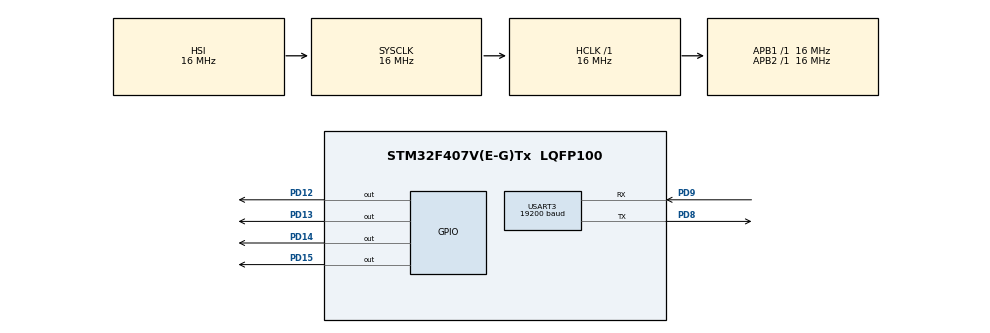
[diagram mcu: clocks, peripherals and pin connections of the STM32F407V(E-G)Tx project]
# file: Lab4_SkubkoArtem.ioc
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Mcu.Family=STM32F4
Mcu.Name=STM32F407V(E-G)Tx
Mcu.Package=LQFP100
NVIC.PriorityGroup=NVIC_PRIORITYGROUP_4
NVIC.USART3_IRQn=true\:0\:0\:false\:false\:true\:true\:true\:true
PD12.Signal=GPIO_Output
PD13.Signal=GPIO_Output
PD14.Signal=GPIO_Output
PD15.Signal=GPIO_Output
PD8.Mode=Asynchronous
PD8.Signal=USART3_TX
PD9.Mode=Asynchronous
PD9.Signal=USART3_RX
ProjectManager.HeapSize=0x200
ProjectManager.StackSize=0x400
ProjectManager.TargetToolchain=STM32CubeIDE
RCC.AHBFreq_Value=16000000
RCC.APB1Freq_Value=16000000
RCC.APB2Freq_Value=16000000
RCC.CortexFreq_Value=16000000
RCC.HSE_VALUE=25000000
RCC.HSI_VALUE=16000000
RCC.LSE_VALUE=32768
RCC.SYSCLKFreq_VALUE=16000000
RCC.VCOOutputFreq_Value=192000000
USART3.BaudRate=19200
USART3.VirtualMode=VM_ASYNC
board=custom

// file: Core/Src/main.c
/* USER CODE BEGIN Header */
/**
  ******************************************************************************
  * @file           : main.c
  * @brief          : Main program body
  ******************************************************************************
  * @attention
  *
  * Copyright (c) 2026 STMicroelectronics.
  * All rights reserved.
  *
  * This software is licensed under terms that can be found in the LICENSE file
  * in the root directory of this software component.
  * If no LICENSE file comes with this software, it is provided AS-IS.
  *
  ******************************************************************************
  */
/* USER CODE END Header */
#include "main.h"

UART_HandleTypeDef huart3;

/* USER CODE BEGIN PV */
uint8_t rx_byte; //variable for saving byte
/* USER CODE END PV */

void SystemClock_Config(void);
static void MX_GPIO_Init(void);
static void MX_USART3_UART_Init(void);

int main(void)
{

  /* MCU Configuration--------------------------------------------------------*/

  /* Reset of all peripherals, Initializes the Flash interface and the Systick. */
  HAL_Init();

  /* Configure the system clock */
  SystemClock_Config();

  /* Initialize all configured peripherals */
  MX_GPIO_Init();
  MX_USART3_UART_Init();
  /* USER CODE BEGIN 2 */
  HAL_UART_Receive_IT(&huart3, &rx_byte, 1); //enabling UART waiting for byte
  /* USER CODE END 2 */

  /* Infinite loop */
  while (1)
  {

  }
}

void SystemClock_Config(void)
{
  RCC_OscInitTypeDef RCC_OscInitStruct = {0};
  RCC_ClkInitTypeDef RCC_ClkInitStruct = {0};

  /** Configure the main internal regulator output voltage
  */
  __HAL_RCC_PWR_CLK_ENABLE();
  __HAL_PWR_VOLTAGESCALING_CONFIG(PWR_REGULATOR_VOLTAGE_SCALE1);

  /** Initializes the RCC Oscillators according to the specified parameters
  * in the RCC_OscInitTypeDef structure.
  */
  RCC_OscInitStruct.OscillatorType = RCC_OSCILLATORTYPE_HSI;
  RCC_OscInitStruct.HSIState = RCC_HSI_ON;
  RCC_OscInitStruct.HSICalibrationValue = RCC_HSICALIBRATION_DEFAULT;
  RCC_OscInitStruct.PLL.PLLState = RCC_PLL_NONE;
  if (HAL_RCC_OscConfig(&RCC_OscInitStruct) != HAL_OK)
  {
    Error_Handler();
  }

  /** Initializes the CPU, AHB and APB buses clocks
  */
  RCC_ClkInitStruct.ClockType = RCC_CLOCKTYPE_HCLK|RCC_CLOCKTYPE_SYSCLK
                              |RCC_CLOCKTYPE_PCLK1|RCC_CLOCKTYPE_PCLK2;
  RCC_ClkInitStruct.SYSCLKSource = RCC_SYSCLKSOURCE_HSI;
  RCC_ClkInitStruct.AHBCLKDivider = RCC_SYSCLK_DIV1;
  RCC_ClkInitStruct.APB1CLKDivider = RCC_HCLK_DIV1;
  RCC_ClkInitStruct.APB2CLKDivider = RCC_HCLK_DIV1;

  if (HAL_RCC_ClockConfig(&RCC_ClkInitStruct, FLASH_LATENCY_0) != HAL_OK)
  {
    Error_Handler();
  }
}

static void MX_USART3_UART_Init(void)
{

  huart3.Instance = USART3;
  huart3.Init.BaudRate = 19200;
  huart3.Init.WordLength = UART_WORDLENGTH_8B;
  huart3.Init.StopBits = UART_STOPBITS_1;
  huart3.Init.Parity = UART_PARITY_NONE;
  huart3.Init.Mode = UART_MODE_TX_RX;
  huart3.Init.HwFlowCtl = UART_HWCONTROL_NONE;
  huart3.Init.OverSampling = UART_OVERSAMPLING_16;
  if (HAL_UART_Init(&huart3) != HAL_OK)
  {
    Error_Handler();
  }

}

static void MX_GPIO_Init(void)
{
  GPIO_InitTypeDef GPIO_InitStruct = {0};

  /* GPIO Ports Clock Enable */
  __HAL_RCC_GPIOD_CLK_ENABLE();

  /*Configure GPIO pin Output Level */
  HAL_GPIO_WritePin(GPIOD, GPIO_PIN_12|GPIO_PIN_13|GPIO_PIN_14|GPIO_PIN_15, GPIO_PIN_RESET);

  /*Configure GPIO pins : PD12 PD13 PD14 PD15 */
  GPIO_InitStruct.Pin = GPIO_PIN_12|GPIO_PIN_13|GPIO_PIN_14|GPIO_PIN_15;
  GPIO_InitStruct.Mode = GPIO_MODE_OUTPUT_PP;
  GPIO_InitStruct.Pull = GPIO_NOPULL;
  GPIO_InitStruct.Speed = GPIO_SPEED_FREQ_LOW;
  HAL_GPIO_Init(GPIOD, &GPIO_InitStruct);

}

/* USER CODE BEGIN 4 */
void HAL_UART_RxCpltCallback(UART_HandleTypeDef *huart)
{
	if(huart->Instance == USART3)
	{
		switch(rx_byte)
		{
			case '1': // Toggle Green LED
				HAL_GPIO_TogglePin(GPIOD, GPIO_PIN_12);
				if (HAL_GPIO_ReadPin(GPIOD, GPIO_PIN_12) == GPIO_PIN_SET)
					HAL_UART_Transmit(&huart3, (uint8_t *)"Green LED ON\r\n", 14, 100);
				else
					HAL_UART_Transmit(&huart3, (uint8_t *)"Green LED OFF\r\n", 15, 100);
				break;
			case '2': // Toggle Orange LED
				HAL_GPIO_TogglePin(GPIOD, GPIO_PIN_13);
				if (HAL_GPIO_ReadPin(GPIOD, GPIO_PIN_13) == GPIO_PIN_SET)
					HAL_UART_Transmit(&huart3, (uint8_t *)"Orange LED ON\r\n", 15, 100);
				else
					HAL_UART_Transmit(&huart3, (uint8_t *)"Orange LED OFF\r\n", 16, 100);
				break;
			case '3': // Toggle Red LED
				HAL_GPIO_TogglePin(GPIOD, GPIO_PIN_14);
				if (HAL_GPIO_ReadPin(GPIOD, GPIO_PIN_14) == GPIO_PIN_SET)
					HAL_UART_Transmit(&huart3, (uint8_t *)"Red LED ON\r\n", 12, 100);
				else
					HAL_UART_Transmit(&huart3, (uint8_t *)"Red LED OFF\r\n", 13, 100);
				break;
			case '4': // Toggle Blue LED
				HAL_GPIO_TogglePin(GPIOD, GPIO_PIN_15);
				if (HAL_GPIO_ReadPin(GPIOD, GPIO_PIN_15) == GPIO_PIN_SET)
					HAL_UART_Transmit(&huart3, (uint8_t *)"Blue LED ON\r\n", 13, 100);
				else
					HAL_UART_Transmit(&huart3, (uint8_t *)"Blue LED OFF\r\n", 14, 100);
				break;
			case '+': // Toggle All LEDs
				HAL_GPIO_WritePin(GPIOD, GPIO_PIN_12 | GPIO_PIN_13 | GPIO_PIN_14 | GPIO_PIN_15, GPIO_PIN_SET);
				HAL_UART_Transmit(&huart3, (uint8_t *)"All LEDs ON\r\n", 13, 100);
				break;
			case '-': // Disable All LEDs
				HAL_GPIO_WritePin(GPIOD, GPIO_PIN_12 | GPIO_PIN_13 | GPIO_PIN_14 | GPIO_PIN_15, GPIO_PIN_RESET);
				HAL_UART_Transmit(&huart3, (uint8_t *)"All LEDs OFF\r\n", 14, 100);
				break;
			default: // If unkwn letter pressed
				HAL_UART_Transmit(&huart3, (uint8_t *)"Unknown letter\r\n", 17, 100);
				break;

		}

		HAL_UART_Receive_IT(&huart3, &rx_byte, 1); //enable reciving next byte after 1
	}

}
/* USER CODE END 4 */

void Error_Handler(void)
{
  __disable_irq();
  while (1)
  {
  }
}
